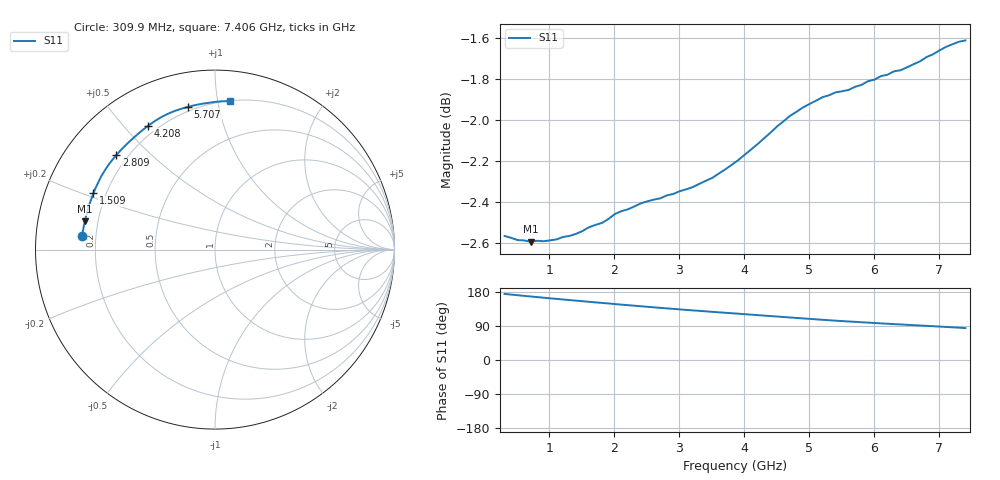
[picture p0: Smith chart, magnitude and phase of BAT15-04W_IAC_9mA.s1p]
! Infineon Technologies  Discrete & RF Semiconductors
! BAT15-04W-E6327
! IAC = 9 mA
! One-Port S-Parameters
# Hz  S  MA  R  50
!f  S11
!Hz  Mag  Ang
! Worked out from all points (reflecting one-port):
!   72 points, 309.9 MHz to 7.406 GHz, reference 50 ohm
!   lowest |S11| = -2.6 dB at 709.6 MHz (marker M1), VSWR 6.75, Z = 7.49 + j5.28 ohm
!   phase of S11 starts at 174 deg and turns -90 deg over the sweep
!   S11 on the Smith chart (normalised r, x): 309.9 MHz: 0.15, +0.05; 1.509 GHz: 0.15, +0.22; 2.809 GHz: 0.16, +0.39; 4.208 GHz: 0.16, +0.58; 5.707 GHz: 0.18, +0.81; 7.406 GHz: 0.20, +1.09
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3.0985e8  0.7443 174.3
6.097e8  0.7425 169.3
7.0965e8  0.7419 167.7
1.0095e9  0.7425 162.8
1.2094e9  0.7439 159.7
1.50925e9  0.7464 155.2
1.70915e9  0.749 152.1
2.10895e9  0.7547 146.1
2.4088e9  0.7581 141.8
2.50875e9  0.7589 140.4
2.8086e9  0.7614 136.2
3.0085e9  0.7632 133.5
3.30835e9  0.7664 129.7
3.6082e9  0.7708 125.9
3.90805e9  0.7766 122.2
4.2079e9  0.7837 118.4
4.50775e9  0.7914 114.7
4.8076e9  0.7979 110.9
5.2074e9  0.8045 106.1
5.4073e9  0.8066 103.8
5.6072e9  0.8077 101.7
5.70715e9  0.8091 100.7
6.10695e9  0.814 96.7
6.30685e9  0.8162 94.7
6.6067e9  0.8194 92.0
6.8066e9  0.8227 90.2
7.10645e9  0.8274 87.3
7.4063e9  0.8304 84.2
